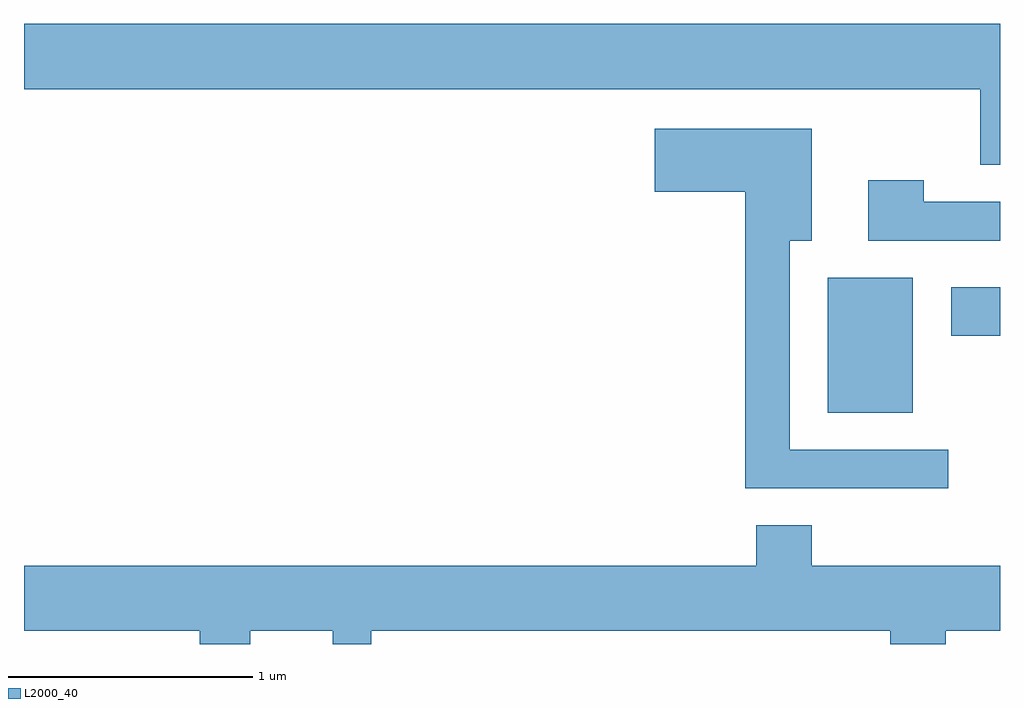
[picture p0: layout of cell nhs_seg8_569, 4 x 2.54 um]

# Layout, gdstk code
import gdstk
lib = gdstk.Library(unit=1e-6, precision=1e-09)
def R(c, l, rs):  # rectangles x0, y0, x1, y1
    for r in rs: c.add(gdstk.rectangle(r[:2], r[2:], *l))
def P(c, l, *ps):  # polygons
    for p in ps: c.add(gdstk.Polygon(p, *l))
L2000_40 = (2000, 40)

nhs_seg8_569 = lib.new_cell('nhs_seg8_569')
R(nhs_seg8_569, L2000_40, [(204.906,1857.291,205.254,1857.844), (205.411,1857.606,205.611,1857.804)])
P(nhs_seg8_569, L2000_40, [(205.611,1858.884),(201.611,1858.884),(201.611,1858.616),(205.531,1858.616),(205.531,1858.306),(205.611,1858.306)],
  [(205.398,1857.139),(204.749,1857.139),(204.749,1857.996),(204.839,1857.996),(204.839,1858.454),(204.196,1858.454),(204.196,1858.196),(204.566,1858.196),(204.566,1856.981),(205.398,1856.981)],
  [(205.611,1858.154),(205.299,1858.154),(205.299,1858.244),(205.071,1858.244),(205.071,1857.996),(205.611,1857.996)],
  [(202.539,1856.396),(202.876,1856.396),(202.876,1856.342),(203.034,1856.342),(203.034,1856.396),(205.161,1856.396),(205.161,1856.342),(205.389,1856.342),(205.389,1856.396),(205.611,1856.396),(205.611,1856.664),(204.839,1856.664),(204.839,1856.829),(204.611,1856.829),(204.611,1856.664),(201.611,1856.664),(201.611,1856.396),(202.331,1856.396),(202.331,1856.342),(202.539,1856.342)])

lib.write_gds('nhs_seg8_569.gds')
